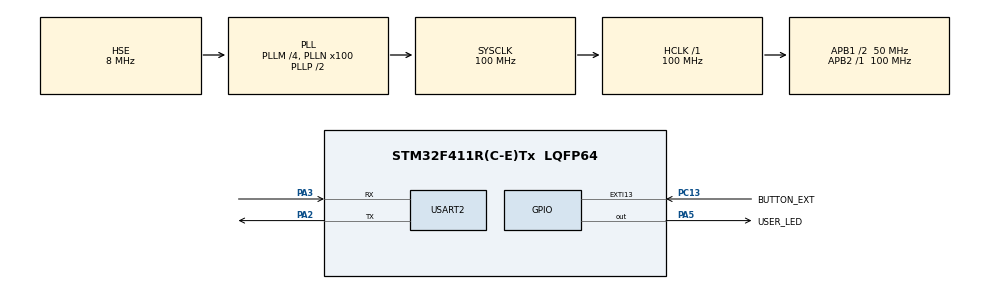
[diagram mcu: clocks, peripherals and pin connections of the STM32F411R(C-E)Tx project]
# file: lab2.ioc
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Mcu.Family=STM32F4
Mcu.Name=STM32F411R(C-E)Tx
Mcu.Package=LQFP64
NVIC.EXTI15_10_IRQn=true\:0\:0\:false\:false\:true\:true\:true
NVIC.PriorityGroup=NVIC_PRIORITYGROUP_4
NVIC.USART2_IRQn=true\:0\:0\:false\:false\:true\:true\:true
PA2.Mode=Asynchronous
PA2.Signal=USART2_TX
PA3.Mode=Asynchronous
PA3.Signal=USART2_RX
PA5.GPIO_Label=USER_LED
PA5.Signal=GPIO_Output
PC13-ANTI_TAMP.GPIO_Label=BUTTON_EXT
PC13-ANTI_TAMP.GPIO_ModeDefaultEXTI=GPIO_MODE_IT_FALLING
PC13-ANTI_TAMP.GPIO_PuPd=GPIO_NOPULL
PC13-ANTI_TAMP.Signal=GPXTI13
PH0\ -\ OSC_IN.Mode=HSE-External-Oscillator
PH0\ -\ OSC_IN.Signal=RCC_OSC_IN
PH1\ -\ OSC_OUT.Mode=HSE-External-Oscillator
PH1\ -\ OSC_OUT.Signal=RCC_OSC_OUT
ProjectManager.HeapSize=0x200
ProjectManager.StackSize=0x400
ProjectManager.TargetToolchain=MDK-ARM V5.32
RCC.48MHZClocksFreq_Value=50000000
RCC.AHBFreq_Value=100000000
RCC.APB1CLKDivider=RCC_HCLK_DIV2
RCC.APB1Freq_Value=50000000
RCC.APB1TimFreq_Value=100000000
RCC.APB2Freq_Value=100000000
RCC.APB2TimFreq_Value=100000000
RCC.CortexFreq_Value=100000000
RCC.HCLKFreq_Value=100000000
RCC.HSE_VALUE=8000000
RCC.HSI_VALUE=16000000
RCC.LSE_VALUE=32768
RCC.PLLM=4
RCC.PLLN=100
RCC.PLLSourceVirtual=RCC_PLLSOURCE_HSE
RCC.SYSCLKFreq_VALUE=100000000
RCC.SYSCLKSource=RCC_SYSCLKSOURCE_PLLCLK
RCC.VCOOutputFreq_Value=200000000
USART2.Parity=PARITY_NONE
USART2.VirtualMode=VM_ASYNC
board=custom

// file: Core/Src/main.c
/* USER CODE BEGIN Header */
/**
  ******************************************************************************
  * @file           : main.c
  * @brief          : Main program body
  ******************************************************************************
  * @attention
  *
  * <h2><center>&copy; Copyright (c) 2023 STMicroelectronics.
  * All rights reserved.</center></h2>
  *
  * This software component is licensed by ST under BSD 3-Clause license,
  * the "License"; You may not use this file except in compliance with the
  * License. You may obtain a copy of the License at:
  *                        opensource.org/licenses/BSD-3-Clause
  *
  ******************************************************************************
  */
/* USER CODE END Header */
#include "main.h"

/* USER CODE BEGIN Includes */
#include <string.h>
#include <stdio.h>
#include <stdlib.h>
#include "stdbool.h"
/* USER CODE END Includes */

/* USER CODE BEGIN PTD */

// uint8_t array to store the AEM of the user //
//
uint8_t uart_data[6];
// counter to count how many times the button is pressed //
int counter_button = 0;
// character array to pack how many times the button pressed and sent it via UART //
char counter_button_string[2];
  // flag that is being changed whether the Button ISR is called //
bool print_button = 0;
// changed = 1 if the state of the LED is changed //
bool changed = 0;
// variable to hold the previous state of the LED to define if the changed variable must be 1 or 0 //
// led_prev_state = 1 means LED is turned ON //
bool led_prev_state = 0;

int AEM = 0;

/* USER CODE END PTD */

UART_HandleTypeDef huart2;

void SystemClock_Config(void);
static void MX_GPIO_Init(void);
static void MX_USART2_UART_Init(void);

int main(void)
{

  /* MCU Configuration--------------------------------------------------------*/

  /* Reset of all peripherals, Initializes the Flash interface and the Systick. */
  HAL_Init();

  /* Configure the system clock */
  SystemClock_Config();

  /* Initialize all configured peripherals */
  MX_GPIO_Init();
  MX_USART2_UART_Init();
  /* USER CODE BEGIN 2 */

	// maximum lengh of AEM is 5 digits...we store 6 bytes cause each time we press enter another character is sent via UART //
	// here we have the MCU ready to get data via UART from the user in non-blocking mode //
  HAL_UART_Receive_IT(&huart2, uart_data, 6);
	// ask the user its AEM //
	do{
		HAL_UART_Transmit(&huart2, (uint8_t *)"\nType your AEM or press a button\n", strlen("\nType your AEM or press a button\n"), 10);
		HAL_Delay(1500);
	}while(counter_button == 0 && uart_data[4] == 0); // if one of the two expressions are not satisfied then the loop code stops because only 1 AND 1 = 1

  /* USER CODE END 2 */

  /* Infinite loop */
  while (1)
  {

    /* USER CODE BEGIN 3 */

		// if the LED changed its state just printed //
		if(changed == 1)
		{
			// 12 characters must be sent in 1/(115200/(12*8)) = 0.8333 ms . So we put 5ms as a timeout
			HAL_UART_Transmit(&huart2, (uint8_t *)"\nLED CHANGED\n", strlen("\nLED CHANGED\n"), 5);
			changed = 0;
		}
		if(print_button == 1)
		{
			print_button = 0;
			HAL_UART_Transmit(&huart2, (uint8_t *)"\nTimes pressed: ", strlen("\nTimes pressed: "), 5);
		// convert integer to string in order to be sent via UART
			sprintf(counter_button_string, "%d", counter_button);
			HAL_UART_Transmit(&huart2, (uint8_t *)counter_button_string, 2, 1);
			HAL_UART_Transmit(&huart2, (uint8_t *)"\n", strlen("\n"), 1);
		}
  }
  /* USER CODE END 3 */
}

void SystemClock_Config(void)
{
  RCC_OscInitTypeDef RCC_OscInitStruct = {0};
  RCC_ClkInitTypeDef RCC_ClkInitStruct = {0};

  /** Configure the main internal regulator output voltage
  */
  __HAL_RCC_PWR_CLK_ENABLE();
  __HAL_PWR_VOLTAGESCALING_CONFIG(PWR_REGULATOR_VOLTAGE_SCALE1);
  /** Initializes the RCC Oscillators according to the specified parameters
  * in the RCC_OscInitTypeDef structure.
  */
  RCC_OscInitStruct.OscillatorType = RCC_OSCILLATORTYPE_HSE;
  RCC_OscInitStruct.HSEState = RCC_HSE_ON;
  RCC_OscInitStruct.PLL.PLLState = RCC_PLL_ON;
  RCC_OscInitStruct.PLL.PLLSource = RCC_PLLSOURCE_HSE;
  RCC_OscInitStruct.PLL.PLLM = 4;
  RCC_OscInitStruct.PLL.PLLN = 100;
  RCC_OscInitStruct.PLL.PLLP = RCC_PLLP_DIV2;
  RCC_OscInitStruct.PLL.PLLQ = 4;
  if (HAL_RCC_OscConfig(&RCC_OscInitStruct) != HAL_OK)
  {
    Error_Handler();
  }
  /** Initializes the CPU, AHB and APB buses clocks
  */
  RCC_ClkInitStruct.ClockType = RCC_CLOCKTYPE_HCLK|RCC_CLOCKTYPE_SYSCLK
                              |RCC_CLOCKTYPE_PCLK1|RCC_CLOCKTYPE_PCLK2;
  RCC_ClkInitStruct.SYSCLKSource = RCC_SYSCLKSOURCE_PLLCLK;
  RCC_ClkInitStruct.AHBCLKDivider = RCC_SYSCLK_DIV1;
  RCC_ClkInitStruct.APB1CLKDivider = RCC_HCLK_DIV2;
  RCC_ClkInitStruct.APB2CLKDivider = RCC_HCLK_DIV1;

  if (HAL_RCC_ClockConfig(&RCC_ClkInitStruct, FLASH_LATENCY_3) != HAL_OK)
  {
    Error_Handler();
  }
}

static void MX_USART2_UART_Init(void)
{

  huart2.Instance = USART2;
  huart2.Init.BaudRate = 115200;
  huart2.Init.WordLength = UART_WORDLENGTH_8B;
  huart2.Init.StopBits = UART_STOPBITS_1;
  huart2.Init.Parity = UART_PARITY_NONE;
  huart2.Init.Mode = UART_MODE_TX_RX;
  huart2.Init.HwFlowCtl = UART_HWCONTROL_NONE;
  huart2.Init.OverSampling = UART_OVERSAMPLING_16;
  if (HAL_UART_Init(&huart2) != HAL_OK)
  {
    Error_Handler();
  }

}

static void MX_GPIO_Init(void)
{
  GPIO_InitTypeDef GPIO_InitStruct = {0};

  /* GPIO Ports Clock Enable */
  __HAL_RCC_GPIOC_CLK_ENABLE();
  __HAL_RCC_GPIOH_CLK_ENABLE();
  __HAL_RCC_GPIOA_CLK_ENABLE();

  /*Configure GPIO pin Output Level */
  HAL_GPIO_WritePin(USER_LED_GPIO_Port, USER_LED_Pin, GPIO_PIN_RESET);

  /*Configure GPIO pin : BUTTON_EXT_Pin */
  GPIO_InitStruct.Pin = BUTTON_EXT_Pin;
  GPIO_InitStruct.Mode = GPIO_MODE_IT_FALLING;
  GPIO_InitStruct.Pull = GPIO_NOPULL;
  HAL_GPIO_Init(BUTTON_EXT_GPIO_Port, &GPIO_InitStruct);

  /*Configure GPIO pin : USER_LED_Pin */
  GPIO_InitStruct.Pin = USER_LED_Pin;
  GPIO_InitStruct.Mode = GPIO_MODE_OUTPUT_PP;
  GPIO_InitStruct.Pull = GPIO_NOPULL;
  GPIO_InitStruct.Speed = GPIO_SPEED_FREQ_LOW;
  HAL_GPIO_Init(USER_LED_GPIO_Port, &GPIO_InitStruct);

  /* EXTI interrupt init*/
  HAL_NVIC_SetPriority(EXTI15_10_IRQn, 0, 0);
  HAL_NVIC_EnableIRQ(EXTI15_10_IRQn);

}

/* USER CODE BEGIN 4 */

void HAL_UART_RxCpltCallback(UART_HandleTypeDef *huart)
{
	// check from which UART module came the Interrupt
	if(huart -> Instance == USART2)
	{
		// if the AEM is even
		sscanf((char *)uart_data, "%d", &AEM);
		if(AEM <= 9999)
		{
				if(uart_data[3] % 2 == 0)
				{
					if(led_prev_state == 1)
					{
							changed = 1;
							led_prev_state = 0;
					}
				HAL_GPIO_WritePin(USER_LED_GPIO_Port, USER_LED_Pin, GPIO_PIN_RESET);
				}
				else{
						if(led_prev_state == 0)
						{
							changed = 1;
							led_prev_state = 1;
						}
						HAL_GPIO_WritePin(USER_LED_GPIO_Port, USER_LED_Pin, GPIO_PIN_SET);
				}
		}
		else if(AEM > 9999)
		{
			if(uart_data[4] % 2 == 0)
				{
					if(led_prev_state == 1)
					{
							changed = 1;
							led_prev_state = 0;
					}
				HAL_GPIO_WritePin(USER_LED_GPIO_Port, USER_LED_Pin, GPIO_PIN_RESET);
				}
				else{
						if(led_prev_state == 0)
						{
							changed = 1;
							led_prev_state = 1;
						}
						HAL_GPIO_WritePin(USER_LED_GPIO_Port, USER_LED_Pin, GPIO_PIN_SET);
				}
		}
	}

	HAL_UART_Receive_IT(&huart2, uart_data, 6);

}

void HAL_GPIO_EXTI_Callback(uint16_t GPIO_Pin)
{
		if(GPIO_Pin == BUTTON_EXT_Pin)
		{
				HAL_GPIO_TogglePin(USER_LED_GPIO_Port, USER_LED_Pin);
				changed = 1;
				counter_button++;
				print_button = 1;
		}
}
/* USER CODE END 4 */

void Error_Handler(void)
{
  __disable_irq();
  while (1)
  {
  }
}

/************************ (C) COPYRIGHT STMicroelectronics *****END OF FILE****/
